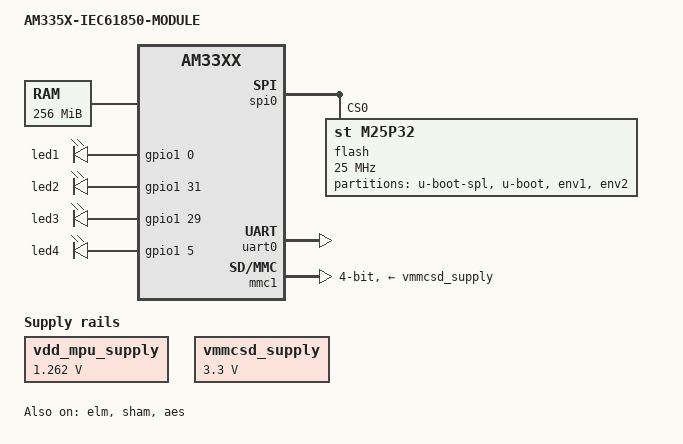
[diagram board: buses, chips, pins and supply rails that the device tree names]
/*
 * Copyright (C) 2012 Texas Instruments Incorporated - http://www.ti.com/
 *
 * This program is free software; you can redistribute it and/or modify
 * it under the terms of the GNU General Public License version 2 as
 * published by the Free Software Foundation.
 */
/dts-v1/;

#include "am33xx.dtsi"
#include <dt-bindings/interrupt-controller/irq.h>

/ {
	model = "AM335X-IEC61850-MODULE";
	compatible = "secure,am335x-iec61850-module", "ti,am33xx";

	chosen {
		stdout-path = &uart0;
		tick-timer = &timer2;
	};

	cpus {
		cpu@0 {
			cpu0-supply = <&vdd_mpu_supply>;
		};
	};

	memory@80000000 {
		device_type = "memory";
		reg = <0x80000000 0x10000000>; /* 256 MB */
	};
	
	chosen {
		stdout-path = &uart0;
	};
		
	vdd_mpu_supply: fixedregulator1 {
		compatible = "regulator-fixed";
		regulator-name = "vdd_mpu";
		regulator-min-microvolt = <1262000>;
		regulator-max-microvolt = <1262000>;
		regulator-boot-on;
		regulator-always-on;
	};
	
	vmmcsd_supply: fixedregulator2 {
		compatible = "regulator-fixed";
		regulator-name = "vdd-mpu-regulator";
		regulator-min-microvolt = <3300000>;
		regulator-max-microvolt = <3300000>;
		regulator-active-high;
		regulator-always-on;
	};
leds {
		pinctrl-names = "default", "sleep";
		pinctrl-0 = <&user_leds_default>;

		compatible = "gpio-leds";

		led@1 {
			label = "led1";
			gpios = <&gpio1 0 GPIO_ACTIVE_HIGH>;
			default-state = "on";
		};
		led@2 {
			label = "led2";
			gpios = <&gpio1 31 GPIO_ACTIVE_HIGH>;
			default-state = "off";
		};
		led@3 {
			label = "led3";
			gpios = <&gpio1 29 GPIO_ACTIVE_HIGH>;
			default-state = "off";
		};
		led@4 {
			label = "led4";
			gpios = <&gpio1 5 GPIO_ACTIVE_HIGH>;
			default-state = "off";
		};

	};


};

&am33xx_pinmux {

	user_leds_default: user_leds_default {
		pinctrl-single,pins = <
			AM33XX_IOPAD(0x800, PIN_OUTPUT | MUX_MODE7) /* (U7) gpmc_ad0.gpio1[0] */
			AM33XX_IOPAD(0x814, PIN_OUTPUT | MUX_MODE7) /* (V8) gpmc_ad5.gpio1[5] */
			AM33XX_IOPAD(0x87c, PIN_OUTPUT | MUX_MODE7) /* (V6) gpmc_csn0.gpio1[29] */
			AM33XX_IOPAD(0x884, PIN_OUTPUT | MUX_MODE7) /* (V9) gpmc_csn2.gpio1[31] */
		>;
	};

	uart0_pins: pinmux_uart0_pins {
		pinctrl-single,pins = <
			0x170 (PIN_INPUT_PULLUP | MUX_MODE0)	/* uart0_rxd.uart0_rxd */
			0x174 (PIN_OUTPUT_PULLDOWN | MUX_MODE0)	/* uart0_txd.uart0_txd */
		>;
	};

	mmc1_pins: pinmux_mmc1_pins {
		pinctrl-single,pins =  <
                        0x0F0 (PIN_INPUT_PULLUP | MUX_MODE0)    /* mmc0_dat3.mmc0_dat3 */
                        0x0F4 (PIN_INPUT_PULLUP | MUX_MODE0)    /* mmc0_dat2.mmc0_dat2 */
                        0x0F8 (PIN_INPUT_PULLUP | MUX_MODE0)    /* mmc0_dat1.mmc0_dat1 */
                        0x0FC (PIN_INPUT_PULLUP | MUX_MODE0)    /* mmc0_dat0.mmc0_dat0 */
                        0x100 (PIN_INPUT_PULLUP | MUX_MODE0)    /* mmc0_clk.mmc0_clk */
                        0x104 (PIN_INPUT_PULLUP | MUX_MODE0)    /* mmc0_cmd.mmc0_cmd */
                >;
	};

	spi0_pins: pinmux_spi0_pins {
		pinctrl-single,pins = <
			0x150 ( PIN_INPUT_PULLUP | MUX_MODE0 ) /* (A17) spi0_sclk.spi0_sclk */
			0x154 ( PIN_INPUT_PULLUP | MUX_MODE0 ) /* (B17) spi0_d0.spi0_d0 */
			0x158 ( PIN_OUTPUT_PULLUP | MUX_MODE0 ) /* (B16) spi0_d1.spi0_d1 */
			0x15c ( PIN_OUTPUT_PULLUP | MUX_MODE0 ) /* (A16) spi0_cs0.spi0_cs0 */
		>;
	};

};

&spi0 {
	pinctrl-names = "default";
	pinctrl-0 = <&spi0_pins>;
	status = "okay";

	flash: n25q032@0 {
		 #address-cells = <1>;
		 #size-cells = <1>;
		 compatible = "st,m25p32";
		 spi-max-frequency = <25000000>;
		 reg = <0>;


		 partition@0 {
			 label = "u-boot-spl";
			 reg = <0x000000 0x020000>;
		 };


		 partition@1 {
			 label = "u-boot";
			 reg = <0x020000 0x080000>;
		 };

		 partition@2 {
			 label = "env1";
			 reg = <0x0C0000 0x020000>;
		 };

		 partition@3 {
			 label = "env2";
			 reg = <0x0E0000 0x020000>;
		 };
	};
};

&uart0 {
	pinctrl-names = "default";
	pinctrl-0 = <&uart0_pins>;

	status = "okay";
};

&cppi41dma  {
	status = "okay";
};

&elm {
	status = "okay";
};

&rtc {
	status = "disabled";
};

&mmc1 {
	status = "okay";
	vmmc-supply = <&vmmcsd_supply>;
	bus-width = <4>;
	pinctrl-names = "default";
	pinctrl-0 = <&mmc1_pins>;
};

&edma {
	ti,edma-xbar-event-map = /bits/ 16 <1 12
					    2 13>;
};

&sham {
	status = "okay";
};

&aes {
	status = "okay";
};




